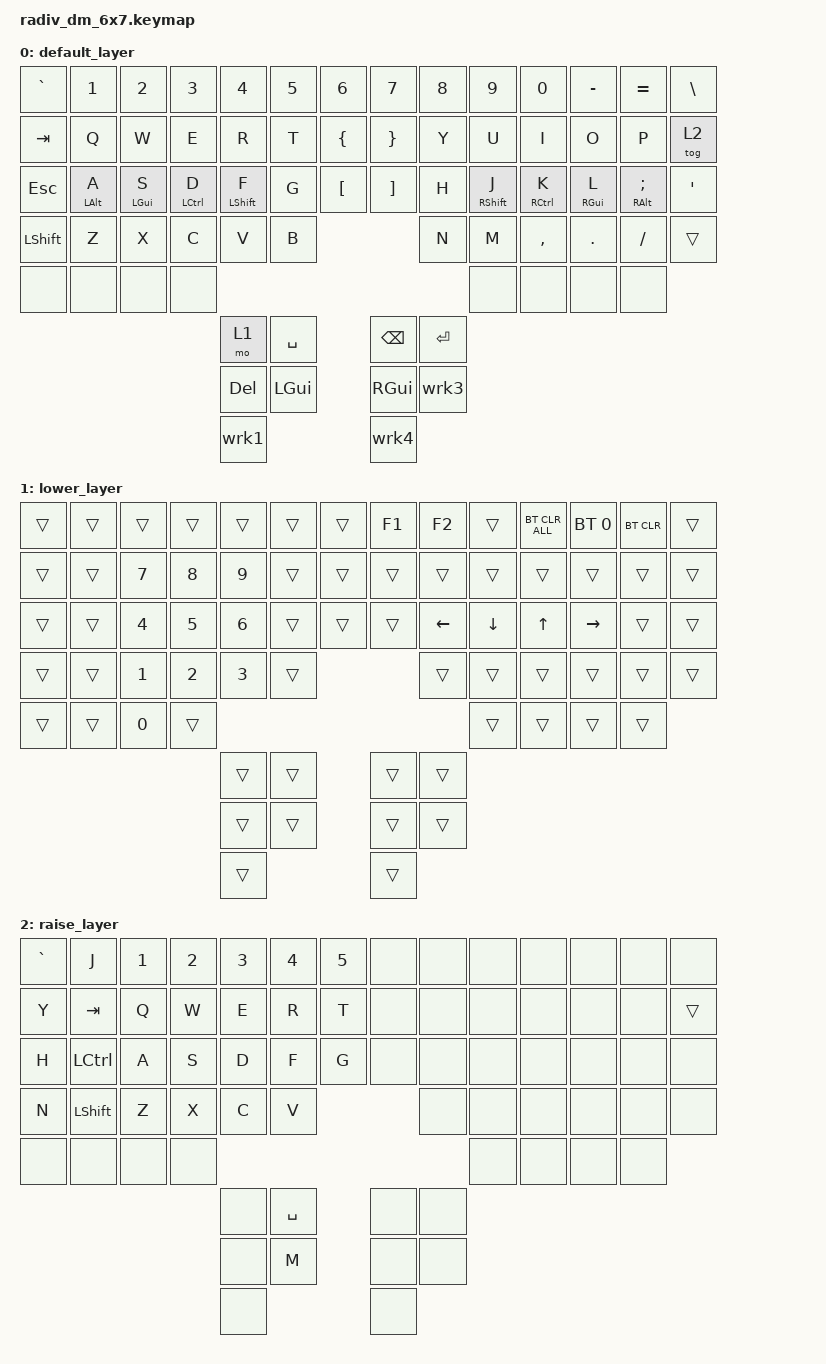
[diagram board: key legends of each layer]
#include <behaviors.dtsi>
#include <dt-bindings/zmk/keys.h>
#include <dt-bindings/zmk/bt.h>
#include <dt-bindings/zmk/outputs.h>

#define DEFAULT 0
#define LWR 1
#define RSE 2




/ {
    behaviors {
      mt_left: mt_left {
        compatible = "zmk,behavior-hold-tap";
        #binding-cells = <2>;

        flavor = "balanced";

        tapping-term-ms = <280>;
        quick-tap-ms = <175>;

        require-prior-idle-ms = <150>;

        hold-trigger-on-release;

        hold-trigger-key-positions = <
            7 8 9 10 11 12 13
            21 22 23 24 25 26 27
            35 36 37 38 39 40 41
            48 49 50 51 52 53
            54 55 56 57 58 59 60 61
        >;

        bindings = <&kp>, <&kp>;
      };

      mt_right: mt_right {
        compatible = "zmk,behavior-hold-tap";
        #binding-cells = <2>;

        flavor = "balanced";

        tapping-term-ms = <280>;
        quick-tap-ms = <175>;

        require-prior-idle-ms = <150>;

        hold-trigger-on-release;

        hold-trigger-key-positions = <
              0 1 2 3 4 5 6
              14 15 16 17 18 19 20
              28 29 30 31 32 33 34
              42 43 44 45 46 47
              54 55 56 57 58 59 60 61
          >;

        bindings = <&kp>, <&kp>;
      };
    };

    macros {
        // Omarchy Menu (super + shift + space)
        menu: menu {
            compatible = "zmk,behavior-macro";
            #binding-cells = <0>;
            bindings
                = <&macro_press &kp LGUI &kp LSHFT>
                , <&macro_tap &kp SPACE>
                , <&macro_release &kp LGUI &kp LSHFT>
                ;
        };

        // Omarchy App launcher (super + space)
        app: app {
            compatible = "zmk,behavior-macro";
            #binding-cells = <0>;
            bindings
                = <&macro_press &kp LGUI>
                , <&macro_tap &kp SPACE>
                , <&macro_release &kp LGUI>
                ;
        };

        // switch to Workspace 1 (super + 1)
        wrk1: wrk1 {
            compatible = "zmk,behavior-macro";
            #binding-cells = <0>;
            bindings
                = <&macro_press &kp LGUI>
                , <&macro_tap &kp N1>
                , <&macro_release &kp LGUI>
                ;
        };

        // switch to Workspace 2 (super + 2)
        wrk2: wrk2 {
            compatible = "zmk,behavior-macro";
            #binding-cells = <0>;
            bindings
                = <&macro_press &kp LGUI>
                , <&macro_tap &kp N2>
                , <&macro_release &kp LGUI>
                ;
        };

        // switch to Workspace 3 (super + 3)
        wrk3: wrk3 {
            compatible = "zmk,behavior-macro";
            #binding-cells = <0>;
            bindings
                = <&macro_press &kp LGUI>
                , <&macro_tap &kp N3>
                , <&macro_release &kp LGUI>
                ;
        };

        // switch to Workspace 4 (super + 4)
        wrk4: wrk4 {
            compatible = "zmk,behavior-macro";
            #binding-cells = <0>;
            bindings
                = <&macro_press &kp LGUI>
                , <&macro_tap &kp N4>
                , <&macro_release &kp LGUI>
                ;
        };

        // switch to next workspace (super + TAB)
        nxtwrk: nxtwrk { compatible = "zmk,behavior-macro";
            #binding-cells = <0>;
            bindings
                = <&macro_press &kp LGUI>
                , <&macro_tap &kp TAB>
                , <&macro_release &kp LGUI>
                ;
        };

        // switch to next workspace (super + shift + TAB)
        prvwrk: prvwrk {
            compatible = "zmk,behavior-macro";
            #binding-cells = <0>;
            bindings
                = <&macro_press &kp LGUI &kp LSHFT>
                , <&macro_tap &kp TAB>
                , <&macro_release &kp LGUI &kp LSHFT>
                ;
        };

        // Open files in omarchy (super + shift + F)
        openf: openf{
            compatible = "zmk,behavior-macro";
            #binding-cells = <0>;
            bindings
                = <&macro_press &kp LGUI &kp LSHFT>
                , <&macro_tap &kp F>
                , <&macro_release &kp LGUI &kp LSHFT>
                ;
        };
    };

//    mt {
//        tapping-term-ms = <280>; // default value = 200
//        flavor = "balanced";
//        require-prior-idle-ms = <150>;
//        quick-tap-ms = <175>;
//    };

    keymap {
        compatible = "zmk,keymap";

        default_layer {
            bindings = <
                &kp GRAVE &kp N1          &kp N2          &kp N3           &kp N4           &kp N5 &kp N6                &kp N7   &kp N8  &kp N9            &kp N0            &kp MINUS        &kp EQUAL           &kp BSLH
                &kp TAB   &kp Q           &kp W           &kp E            &kp R            &kp T  &kp LBRC              &kp RBRC &kp Y   &kp U             &kp I             &kp O            &kp P               &tog 2
                &kp ESC   &mt_left LALT A &mt_left LGUI S &mt_left LCTRL D &mt_left LSHFT F &kp G  &kp LBKT              &kp RBKT &kp H   &mt_right RSHFT J &mt_right RCTRL K &mt_right RGUI L &mt_right RALT SEMI &kp SQT
                &kp LSHFT &kp Z           &kp X           &kp C            &kp V            &kp B                                 &kp N   &kp M             &kp COMMA         &kp DOT          &kp FSLH            &trans
                &none     &none           &none           &none                                                                           &none             &none             &none            &none
                                                                           &mo 1  &kp SPACE                              &kp BSPC &kp RET
                                                                           &kp DEL &kp LGUI                              &kp RGUI &wrk3
                                                                           &wrk1                                         &wrk4
            >;
        };

        lower_layer {
            bindings = <
                &trans  &trans &trans &trans &trans &trans &trans             &kp F1 &kp F2   &trans   &bt BT_CLR_ALL &bt BT_SEL 0 &bt BT_CLR &trans
                &trans  &trans &kp N7 &kp N8 &kp N9 &trans &trans             &trans &trans   &trans   &trans         &trans       &trans     &trans
                &trans  &trans &kp N4 &kp N5 &kp N6 &trans &trans             &trans &kp LEFT &kp DOWN &kp UP         &kp RIGHT    &trans     &trans
                &trans  &trans &kp N1 &kp N2 &kp N3 &trans                           &trans   &trans   &trans         &trans       &trans     &trans
                &trans  &trans &kp N0 &trans                                                           &trans         &trans       &trans     &trans
                                                    &trans &trans             &trans &trans
                                                    &trans &trans             &trans &trans
                                                    &trans                           &trans
            >;
        };

        raise_layer {
            bindings = <
                &kp GRAVE &kp J     &kp N1 &kp N2 &kp N3 &kp N4 &kp N5      &none &none &none &none &none &none &none
                &kp Y     &kp TAB   &kp Q  &kp W  &kp E  &kp R  &kp T       &none &none &none &none &none &none &trans
                &kp H     &kp LCTRL &kp A  &kp S  &kp D  &kp F  &kp G       &none &none &none &none &none &none &none
                &kp N     &kp LSHFT &kp Z  &kp X  &kp C  &kp V                    &none &none &none &none &none &none
                &none     &none     &none  &none                                              &none &none &none &none
                                                         &none  &kp SPACE   &none &none
                                                         &none  &kp M       &none &none
                                                         &none                    &none
            >;
        };

        
    };
};
